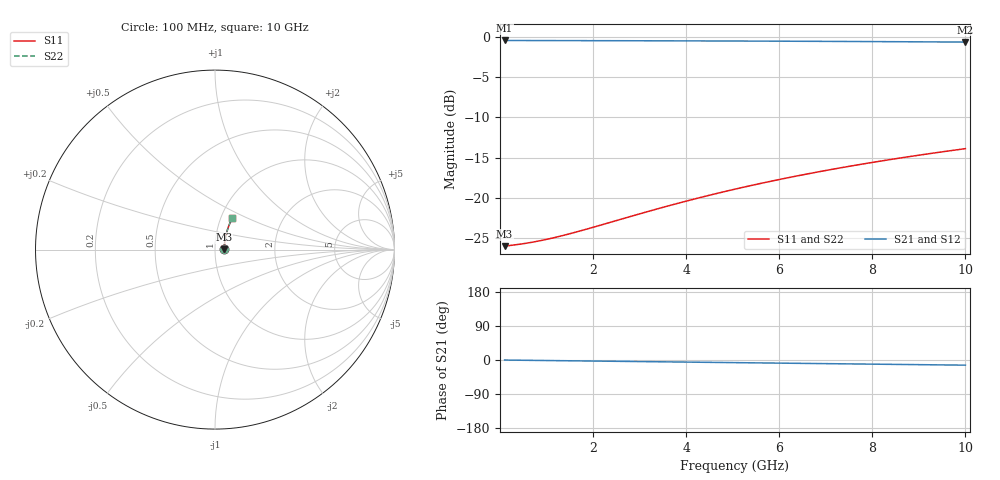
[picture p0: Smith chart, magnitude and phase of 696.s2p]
# Hz S RI R 50.00
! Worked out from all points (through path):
!   100 points, 100 MHz to 10 GHz, reference 50 ohm
!   highest |S21| = -0.45 dB at 100 MHz (marker M1); lowest = -0.6 dB at 10 GHz (marker M2)
!   group delay of S21, straight-line fit = 3.78 ps
!   lowest |S11| = -26.0 dB at 100 MHz (marker M3), VSWR 1.11, Z = 55.3 + j0.208 ohm
!   |S11| at or under -10 dB: start of sweep to end of sweep
!   |S22| runs from -26.0 to -13.9 dB; largest |S21 - S12| = 0
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1e8  0.0501 0.00188  0.9499 -0.00229  0.9499 -0.00229  0.0501 0.00188
5e8  0.051 0.00938  0.9489 -0.0114  0.9489 -0.0114  0.051 0.00938
7e8  0.0514 0.0131  0.9486 -0.016  0.9486 -0.016  0.0514 0.0131
9e8  0.0518 0.0169  0.9482 -0.0206  0.9482 -0.0206  0.0518 0.0169
1.1e9  0.0521 0.0206  0.9479 -0.0251  0.9479 -0.0251  0.0521 0.0206
1.3e9  0.0525 0.0243  0.9475 -0.0297  0.9475 -0.0297  0.0525 0.0243
1.5e9  0.0529 0.0281  0.9471 -0.0342  0.9471 -0.0342  0.0529 0.0281
1.8e9  0.0535 0.0336  0.9465 -0.041  0.9465 -0.041  0.0535 0.0336
2.9e9  0.0563 0.054  0.9436 -0.0659  0.9436 -0.0659  0.0563 0.054
3.4e9  0.0579 0.0632  0.942 -0.0771  0.942 -0.0771  0.0579 0.0632
3.9e9  0.0597 0.0723  0.9402 -0.0883  0.9402 -0.0883  0.0597 0.0723
4.3e9  0.0612 0.0796  0.9386 -0.0972  0.9386 -0.0972  0.0612 0.0796
4.7e9  0.0629 0.0868  0.9369 -0.1061  0.9369 -0.1061  0.0629 0.0868
5.1e9  0.0648 0.094  0.935 -0.1149  0.935 -0.1149  0.0648 0.094
5.5e9  0.0667 0.1011  0.933 -0.1237  0.933 -0.1237  0.0667 0.1011
5.9e9  0.0688 0.1082  0.9309 -0.1324  0.9309 -0.1324  0.0688 0.1082
6.3e9  0.071 0.1152  0.9286 -0.1411  0.9286 -0.1411  0.071 0.1152
6.7e9  0.0733 0.1222  0.9263 -0.1498  0.9263 -0.1498  0.0733 0.1222
7.5e9  0.0784 0.1359  0.9211 -0.1668  0.9211 -0.1668  0.0784 0.1359
8.4e9  0.0846 0.1511  0.9148 -0.1857  0.9148 -0.1857  0.0846 0.1511
9.2e9  0.0906 0.1643  0.9086 -0.2022  0.9086 -0.2022  0.0906 0.1643
1e10  0.0971 0.1772  0.902 -0.2184  0.902 -0.2184  0.0971 0.1772
